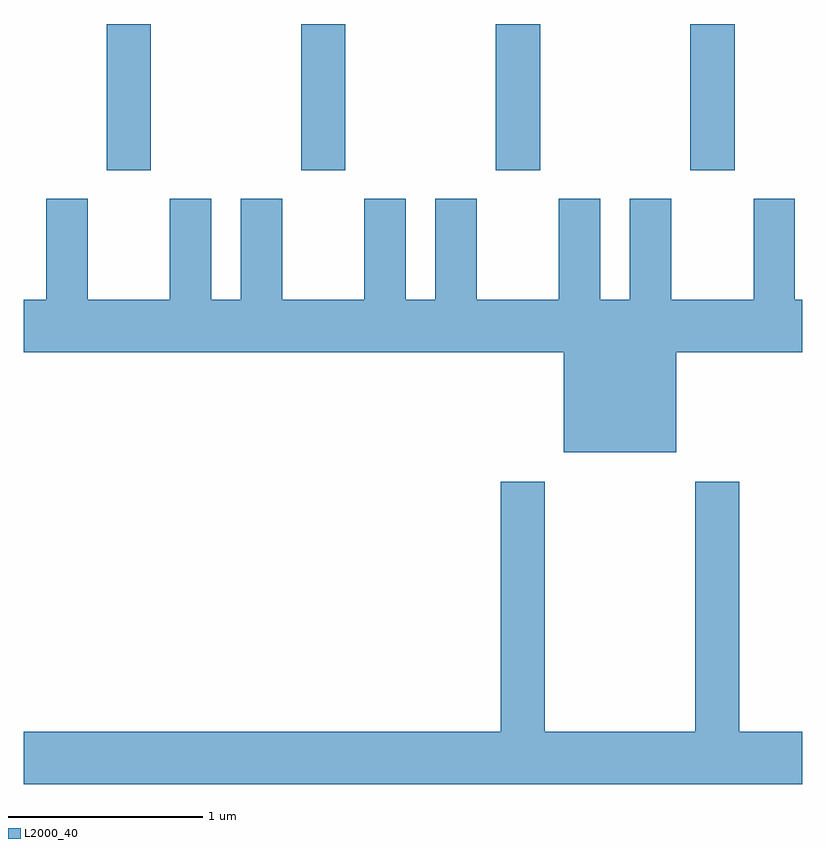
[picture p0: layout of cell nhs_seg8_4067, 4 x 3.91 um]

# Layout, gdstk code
import gdstk
lib = gdstk.Library(unit=1e-6, precision=1e-09)
def R(c, l, rs):  # rectangles x0, y0, x1, y1
    for r in rs: c.add(gdstk.rectangle(r[:2], r[2:], *l))
def A(c, l, x, y, w, h, nx, ny, dx, dy):  # array of equal rectangles
    R(c, l, [(x+i*dx, y+j*dy, x+i*dx+w, y+j*dy+h) for i in range(nx) for j in range(ny)])
def P(c, l, *ps):  # polygons
    for p in ps: c.add(gdstk.Polygon(p, *l))
L2000_40 = (2000, 40)

nhs_seg8_4067 = lib.new_cell('nhs_seg8_4067')
A(nhs_seg8_4067, L2000_40, 308.036, 1819.591, 0.228, 0.751, 4, 1, 1, 0)
P(nhs_seg8_4067, L2000_40, [(310.964,1818.656),(311.611,1818.656),(311.611,1818.924),(311.574,1818.924),(311.574,1819.444),(311.361,1819.444),(311.361,1818.924),(310.939,1818.924),(310.939,1819.444),(310.726,1819.444),(310.726,1818.924),(310.574,1818.924),(310.574,1819.444),(310.361,1819.444),(310.361,1818.924),(309.939,1818.924),(309.939,1819.444),(309.726,1819.444),(309.726,1818.924),(309.574,1818.924),(309.574,1819.444),(309.361,1819.444),(309.361,1818.924),(308.939,1818.924),(308.939,1819.444),(308.726,1819.444),(308.726,1818.924),(308.574,1818.924),(308.574,1819.444),(308.361,1819.444),(308.361,1818.924),(307.939,1818.924),(307.939,1819.444),(307.726,1819.444),(307.726,1818.924),(307.611,1818.924),(307.611,1818.656),(310.386,1818.656),(310.386,1818.141),(310.964,1818.141)],
  [(311.611,1816.704),(311.289,1816.704),(311.289,1817.989),(311.061,1817.989),(311.061,1816.704),(310.289,1816.704),(310.289,1817.989),(310.061,1817.989),(310.061,1816.704),(307.611,1816.704),(307.611,1816.436),(311.611,1816.436)])

lib.write_gds('nhs_seg8_4067.gds')
